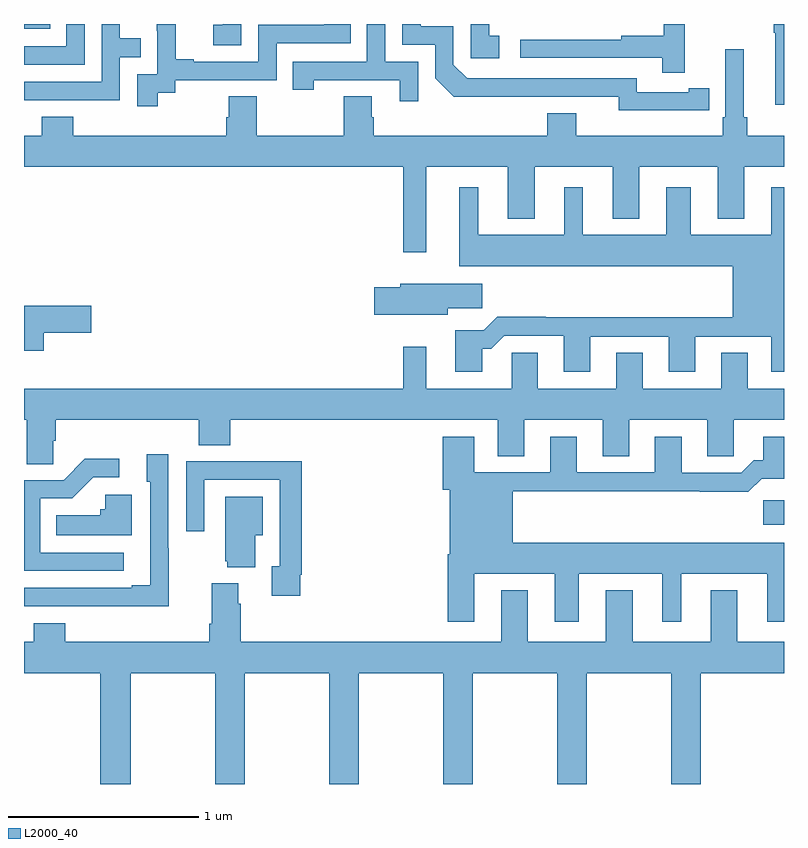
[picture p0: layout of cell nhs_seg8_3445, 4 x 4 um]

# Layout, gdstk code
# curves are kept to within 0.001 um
import gdstk
lib = gdstk.Library(unit=1e-6, precision=1e-09)
def R(c, l, rs):  # rectangles x0, y0, x1, y1
    for r in rs: c.add(gdstk.rectangle(r[:2], r[2:], *l))
def P(c, l, *ps):  # polygons
    for p in ps: c.add(gdstk.Polygon(p, *l))
L2000_40 = (2000, 40)

nhs_seg8_3445 = lib.new_cell('nhs_seg8_3445')
R(nhs_seg8_3445, L2000_40, [(326.892,1133.264,327,1133.393), (323,1135.874,323.138,1135.9)])
P(nhs_seg8_3445, L2000_40, [(325.074,1135.701),(324.9,1135.701),(324.9,1135.9),(324.804,1135.9),(324.804,1135.701),(324.415,1135.701),(324.415,1135.554),(324.526,1135.554),(324.526,1135.605),(324.977,1135.605),(324.977,1135.494),(325.074,1135.494)],
  [(324.144,1135.9),(324.046,1135.9),(324.046,1135.897),(323.997,1135.897),(323.997,1135.788),(324.144,1135.788)],
  [(327,1135.9),(326.947,1135.9),(326.947,1135.855),(326.954,1135.855),(326.954,1135.476),(327,1135.476)],
  [(326.498,1135.446),(326.606,1135.446),(326.606,1135.562),(326.498,1135.562),(326.498,1135.542),(326.226,1135.542),(326.226,1135.614),(325.332,1135.614),(325.26,1135.686),(325.26,1135.887),(325.087,1135.887),(325.087,1135.9),(324.99,1135.9),(324.99,1135.791),(325.164,1135.791),(325.164,1135.614),(325.262,1135.517),(326.13,1135.518),(326.13,1135.445)],
  [(325.501,1135.839),(325.448,1135.839),(325.448,1135.9),(325.35,1135.9),(325.35,1135.719),(325.501,1135.719)],
  [(323.009,1135.5),(323.505,1135.5),(323.505,1135.725),(323.615,1135.725),(323.615,1135.826),(323.505,1135.826),(323.505,1135.9),(323.409,1135.9),(323.409,1135.596),(323,1135.596),(323,1135.499),(323.009,1135.499)],
  [(323.319,1135.9),(323.223,1135.9),(323.223,1135.782),(323,1135.782),(323,1135.686),(323.319,1135.686)],
  [(323.704,1135.537),(323.796,1135.537),(323.796,1135.605),(324.33,1135.605),(324.33,1135.8),(324.719,1135.8),(324.719,1135.9),(324.579,1135.9),(324.579,1135.896),(324.234,1135.896),(324.234,1135.701),(323.893,1135.701),(323.893,1135.714),(323.798,1135.714),(323.798,1135.9),(323.699,1135.9),(323.699,1135.865),(323.7,1135.865),(323.7,1135.635),(323.595,1135.635),(323.595,1135.467),(323.704,1135.467)],
  [(326.477,1135.9),(326.367,1135.9),(326.367,1135.838),(326.143,1135.838),(326.143,1135.818),(325.611,1135.818),(325.611,1135.722),(326.359,1135.722),(326.359,1135.644),(326.477,1135.644)],
  [(325.117,1135.148),(325.547,1135.148),(325.547,1134.875),(325.687,1134.875),(325.687,1135.148),(326.099,1135.148),(326.099,1134.875),(326.239,1134.875),(326.239,1135.148),(326.651,1135.148),(326.651,1134.875),(326.791,1134.875),(326.791,1135.148),(327,1135.148),(327,1135.312),(326.807,1135.312),(326.807,1135.408),(326.788,1135.408),(326.788,1135.768),(326.691,1135.768),(326.691,1135.408),(326.678,1135.408),(326.678,1135.312),(325.906,1135.312),(325.906,1135.429),(325.754,1135.429),(325.754,1135.312),(324.842,1135.312),(324.842,1135.41),(324.829,1135.41),(324.829,1135.52),(324.682,1135.52),(324.682,1135.312),(324.225,1135.312),(324.225,1135.52),(324.077,1135.52),(324.077,1135.41),(324.065,1135.41),(324.065,1135.312),(323.258,1135.312),(323.258,1135.411),(323.093,1135.411),(323.093,1135.312),(323,1135.312),(323,1135.148),(324.996,1135.148),(324.996,1134.699),(325.117,1134.699)],
  [(325.411,1134.191),(325.46,1134.191),(325.527,1134.258),(325.841,1134.258),(325.841,1134.069),(325.981,1134.069),(325.981,1134.255),(326.393,1134.255),(326.393,1134.069),(326.533,1134.069),(326.533,1134.255),(326.933,1134.255),(326.933,1134.069),(327,1134.069),(327,1135.042),(326.933,1135.042),(326.933,1134.79),(326.509,1134.79),(326.509,1135.042),(326.381,1135.042),(326.381,1134.79),(325.942,1134.79),(325.942,1135.042),(325.844,1135.042),(325.844,1134.79),(325.39,1134.79),(325.39,1135.042),(325.292,1135.042),(325.292,1134.626),(326.729,1134.626),(326.729,1134.356),(325.745,1134.356),(325.745,1134.359),(325.49,1134.359),(325.42,1134.289),(325.271,1134.289),(325.271,1134.069),(325.411,1134.069)],
  [(325.231,1134.403),(325.411,1134.403),(325.411,1134.532),(324.98,1134.532),(324.98,1134.515),(324.843,1134.515),(324.843,1134.371),(325.231,1134.371)],
  [(323.105,1134.274),(323.353,1134.274),(323.353,1134.416),(323,1134.416),(323,1134.179),(323.105,1134.179)],
  [(325.493,1133.626),(325.633,1133.626),(325.633,1133.816),(326.045,1133.816),(326.045,1133.626),(326.185,1133.626),(326.185,1133.816),(326.597,1133.816),(326.597,1133.626),(326.736,1133.626),(326.736,1133.816),(327,1133.816),(327,1133.98),(326.809,1133.98),(326.809,1134.17),(326.669,1134.17),(326.669,1133.98),(326.257,1133.98),(326.257,1134.17),(326.117,1134.17),(326.117,1133.98),(325.705,1133.98),(325.705,1134.17),(325.566,1134.17),(325.566,1133.98),(325.117,1133.98),(325.117,1134.202),(324.996,1134.202),(324.996,1133.98),(323,1133.98),(323,1133.816),(323.015,1133.816),(323.015,1133.584),(323.154,1133.584),(323.154,1133.707),(323.168,1133.707),(323.168,1133.816),(323.921,1133.816),(323.921,1133.683),(324.086,1133.683),(324.086,1133.816),(325.493,1133.816)],
  [(325.369,1133.006),(325.793,1133.006),(325.793,1132.755),(325.921,1132.755),(325.921,1133.006),(326.36,1133.006),(326.36,1132.755),(326.458,1132.755),(326.458,1133.006),(326.912,1133.006),(326.912,1132.755),(327,1132.755),(327,1133.17),(325.573,1133.17),(325.573,1133.44),(326.557,1133.44),(326.557,1133.438),(326.813,1133.438),(326.882,1133.507),(327,1133.507),(327,1133.728),(326.891,1133.728),(326.891,1133.605),(326.842,1133.605),(326.775,1133.538),(326.461,1133.538),(326.461,1133.728),(326.321,1133.728),(326.321,1133.541),(325.909,1133.541),(325.909,1133.728),(325.769,1133.728),(325.769,1133.541),(325.369,1133.541),(325.369,1133.728),(325.205,1133.728),(325.205,1133.448),(325.241,1133.448),(325.241,1133.11),(325.229,1133.11),(325.229,1132.755),(325.369,1132.755)],
  [(323.763,1133.141),(323.76,1133.141),(323.76,1133.635),(323.645,1133.635),(323.645,1133.49),(323.664,1133.49),(323.664,1132.945),(323.567,1132.945),(323.567,1132.932),(323,1132.932),(323,1132.836),(323.299,1132.836),(323.299,1132.835),(323.763,1132.835)],
  [(323.524,1133.118),(323.085,1133.118),(323.085,1133.403),(323.254,1133.403),(323.365,1133.514),(323.5,1133.514),(323.5,1133.612),(323.321,1133.612),(323.208,1133.499),(323,1133.499),(323,1133.022),(323.524,1133.022)],
  [(324.454,1133.002),(324.461,1133.002),(324.461,1133.6),(324.169,1133.6),(324.169,1133.598),(323.853,1133.598),(323.853,1133.229),(323.949,1133.229),(323.949,1133.502),(324.345,1133.502),(324.345,1133.046),(324.305,1133.046),(324.305,1132.89),(324.454,1132.89)],
  [(323.566,1133.422),(323.427,1133.422),(323.427,1133.346),(323.401,1133.346),(323.401,1133.314),(323.17,1133.314),(323.17,1133.21),(323.566,1133.21)],
  [(324.217,1133.21),(324.256,1133.21),(324.256,1133.413),(324.059,1133.413),(324.059,1133.073),(324.071,1133.073),(324.071,1133.042),(324.217,1133.042)],
  [(323.562,1132.484),(324.007,1132.484),(324.007,1131.9),(324.162,1131.9),(324.162,1132.484),(324.607,1132.484),(324.607,1131.9),(324.762,1131.9),(324.762,1132.484),(325.207,1132.484),(325.207,1131.9),(325.362,1131.9),(325.362,1132.484),(325.807,1132.484),(325.807,1131.9),(325.962,1131.9),(325.962,1132.484),(326.407,1132.484),(326.407,1131.9),(326.562,1131.9),(326.562,1132.484),(327,1132.484),(327,1132.648),(326.755,1132.648),(326.755,1132.921),(326.615,1132.921),(326.615,1132.648),(326.203,1132.648),(326.203,1132.921),(326.063,1132.921),(326.063,1132.648),(325.651,1132.648),(325.651,1132.921),(325.511,1132.921),(325.511,1132.648),(324.14,1132.648),(324.14,1132.85),(324.127,1132.85),(324.127,1132.957),(323.987,1132.957),(323.987,1132.744),(323.975,1132.744),(323.975,1132.648),(323.216,1132.648),(323.216,1132.747),(323.051,1132.747),(323.051,1132.648),(323,1132.648),(323,1132.484),(323.402,1132.484),(323.402,1131.9),(323.562,1131.9)])

lib.write_gds('nhs_seg8_3445.gds')
